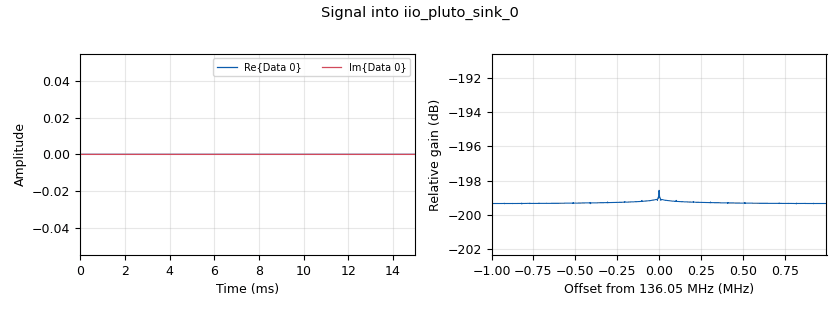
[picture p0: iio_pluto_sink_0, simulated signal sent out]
options:
  parameters:
    generate_options: qt_gui
    id: top_block
    output_language: python
  states: {}

blocks:
- name: freq
  id: variable
  parameters:
    value: '136050000'
  states: {}
- name: percent_tracks
  id: variable_qtgui_range
  parameters:
    gui_hint: '[0,1,1,1]'
    orient: Qt.Horizontal
    start: '0'
    step: '1'
    stop: '100'
    value: '50'
  states: {}
- name: pulse_freq
  id: variable_qtgui_range
  parameters:
    gui_hint: '[1,0,1,1]'
    label: Pulse Freq
    orient: Qt.Horizontal
    start: '10'
    step: '100'
    stop: 10e3
    value: '100'
  states: {}
- name: pulse_vector
  id: variable
  parameters:
    value: '[1]*tgt_pw_tau+[0]*(track_spacing)'
  states: {}
- name: samp_rate
  id: variable
  parameters:
    value: '2000000'
  states: {}
- name: tgt_pri
  id: variable_qtgui_range
  parameters:
    gui_hint: '[0, 0, 1, 1]'
    label: target radar PRI
    orient: Qt.Horizontal
    start: '2e-6'
    step: '0.5e-6'
    stop: '1'
    value: '10e-2'
  states: {}
- name: tgt_pri_tau
  id: variable
  parameters:
    value: round(tgt_pri/(1/samp_rate))
  states: {}
- name: tgt_pw
  id: variable_qtgui_range
  parameters:
    gui_hint: '[1 , 1, 1, 1]'
    label: target radar PW
    orient: Qt.Horizontal
    start: '1e-6'
    step: '0.5e-6'
    stop: '1'
    value: '10e-3'
  states: {}
- name: tgt_pw_tau
  id: variable
  parameters:
    value: round(tgt_pw/(1/samp_rate))
  states: {}
- name: track_spacing
  id: variable
  parameters:
    value: round((tgt_pri/tgt_pw)*((100-percent_tracks)/100)*(tgt_pw_tau))
  states: {}
- name: analog_sig_source_x_0_0
  id: analog_sig_source_x
  parameters:
    amp: '1'
    freq: pulse_freq
    offset: '0'
    phase: '0'
    samp_rate: samp_rate
    type: complex
    waveform: analog.GR_SIN_WAVE
  states: {}
- name: blocks_multiply_xx_1
  id: blocks_multiply_xx
  parameters:
    comment: For a pulse compression radar
    type: complex
  states: {}
- name: blocks_vector_source_x_0
  id: blocks_vector_source_x
  parameters:
    repeat: 'True'
    type: complex
    vector: pulse_vector
  states: {}
- name: fosphor_qt_sink_c_0
  id: fosphor_qt_sink_c
  parameters:
    freq_center: freq
    freq_span: samp_rate/2
    wintype: firdes.WIN_BLACKMAN_hARRIS
  states: {}
- name: iio_pluto_sink_0
  id: iio_pluto_sink
  parameters:
    attenuation1: '10.0'
    auto_filter: 'True'
    bandwidth: '20000000'
    buffer_size: '32768'
    cyclic: 'False'
    frequency: freq
    samplerate: samp_rate
  states: {}
- name: iio_pluto_source_0
  id: iio_pluto_source
  parameters:
    auto_filter: 'True'
    bandwidth: '20000000'
    bbdc: 'True'
    buffer_size: '32768'
    frequency: freq
    gain1: '''manual'''
    manual_gain1: '35'
    quadrature: 'True'
    rfdc: 'True'
    samplerate: '2084000'
  states: {}
- name: qtgui_time_sink_x_1
  id: qtgui_time_sink_x
  parameters:
    ctrlpanel: 'True'
    entags: 'False'
    gui_hint: '[2,0,3,3]'
    size: '1024'
    srate: samp_rate/2
    tr_delay: '0.0'
    type: complex
  states: {state: disabled}
- name: radar_signal_generator_fmcw_c_0
  id: radar_signal_generator_fmcw_c
  parameters:
    amplitude: '1'
    comment: For an FMCW radar
    freq_cw: pulse_freq
    freq_sweep: round(pulse_freq/10)
    len_key: '"packet_len"'
    samp_cw: tgt_pw_tau
    samp_down: track_spacing
    samp_rate: samp_rate
    samp_up: round(tgt_pw_tau/2)
  states: {state: disabled}

connections:
- [analog_sig_source_x_0_0, '0', blocks_multiply_xx_1, '1']
- [blocks_multiply_xx_1, '0', iio_pluto_sink_0, '0']
- [blocks_vector_source_x_0, '0', blocks_multiply_xx_1, '0']
- [iio_pluto_source_0, '0', fosphor_qt_sink_c_0, '0']
- [iio_pluto_source_0, '0', qtgui_time_sink_x_1, '0']
- [radar_signal_generator_fmcw_c_0, '0', iio_pluto_sink_0, '0']

metadata:
  file_format: 1
